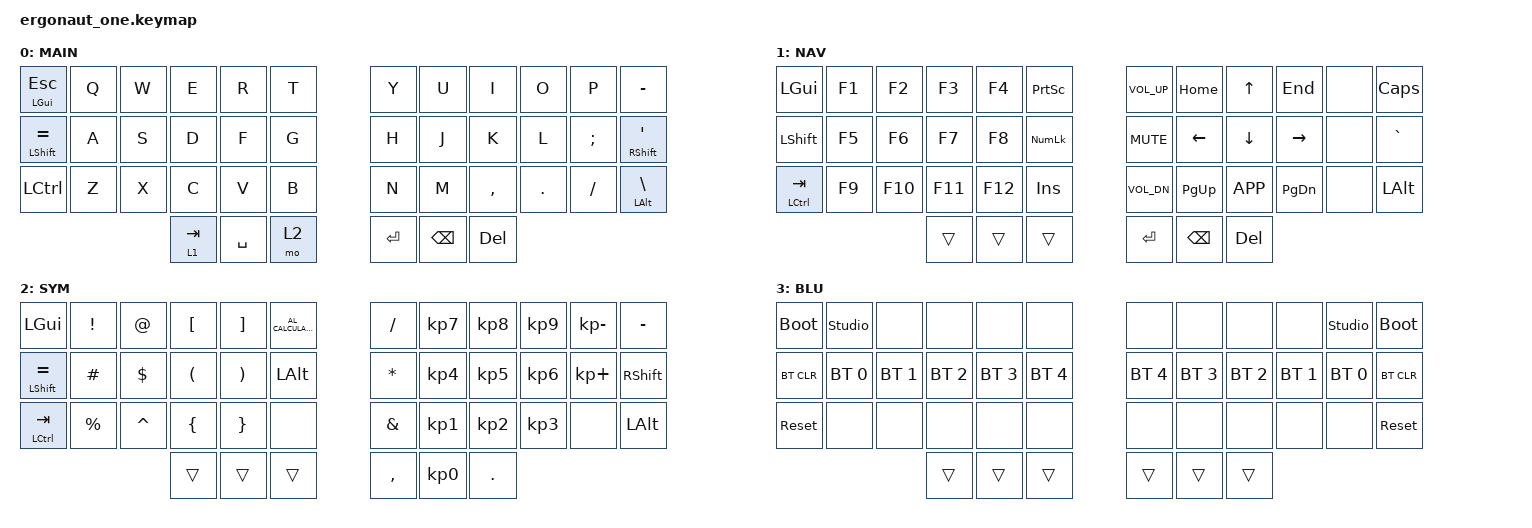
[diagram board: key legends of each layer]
#include <behaviors.dtsi>
#include <dt-bindings/zmk/bt.h>
#include <dt-bindings/zmk/keys.h>

&lt {
    quick-tap-ms = <200>;
    flavor = "hold-preferred";
};

&mt { quick-tap-ms = <200>; };

&sl { release-after-ms = <2000>; };

/ {
    combos {
        compatible = "zmk,combos";

        rightblu {
            bindings = <&sl 3>;
            key-positions = <41 40 39>;
        };

        leftblu {
            bindings = <&sl 3>;
            key-positions = <38 37 36>;
        };
    };

    keymap {
        compatible = "zmk,keymap";

        main {
            display-name = "MAIN";
            bindings = <
&mt LGUI ESC      &kp Q  &kp W  &kp E      &kp R      &kp T  &kp Y      &kp U          &kp I      &kp O    &kp P     &kp MINUS
&mt LSHIFT EQUAL  &kp A  &kp S  &kp D      &kp F      &kp G  &kp H      &kp J          &kp K      &kp L    &kp SEMI  &mt RSHIFT SQT
&kp LCTRL         &kp Z  &kp X  &kp C      &kp V      &kp B  &kp N      &kp M          &kp COMMA  &kp DOT  &kp FSLH  &mt LEFT_ALT BSLH
                                &lt 1 TAB  &kp SPACE  &mo 2  &kp ENTER  &kp BACKSPACE  &kp DEL
            >;
        };

        navigation {
            display-name = "NAV";
            bindings = <
&kp LEFT_GUI   &kp F1  &kp F2   &kp F3   &kp F4   &kp PSCRN       &kp C_VOL_UP  &kp HOME       &kp UP      &kp END    &none  &kp CAPS
&kp LSHIFT     &kp F5  &kp F6   &kp F7   &kp F8   &kp KP_NUMLOCK  &kp K_MUTE    &kp LEFT       &kp DOWN    &kp RIGHT  &none  &kp GRAVE
&mt LCTRL TAB  &kp F9  &kp F10  &kp F11  &kp F12  &kp INS         &kp C_VOL_DN  &kp PG_UP      &kp K_APP   &kp PG_DN  &none  &kp LALT
                                &trans   &trans   &trans          &kp ENTER     &kp BACKSPACE  &kp DELETE
            >;
        };

        symbols {
            display-name = "SYM";
            bindings = <
&kp LEFT_GUI      &kp EXCLAMATION  &kp AT_SIGN  &kp LBKT        &kp RBKT         &kp C_AL_CALCULATOR  &kp SLASH      &kp KP_NUMBER_7  &kp KP_NUMBER_8  &kp KP_NUMBER_9  &kp KP_MINUS  &kp MINUS
&mt LSHIFT EQUAL  &kp HASH         &kp DOLLAR   &kp LPAR        &kp RPAR         &kp LALT             &kp STAR       &kp KP_NUMBER_4  &kp KP_NUMBER_5  &kp KP_NUMBER_6  &kp KP_PLUS   &kp RSHIFT
&mt LCTRL TAB     &kp PERCENT      &kp CARET    &kp LEFT_BRACE  &kp RIGHT_BRACE  &none                &kp AMPERSAND  &kp KP_NUMBER_1  &kp KP_NUMBER_2  &kp KP_NUMBER_3  &none         &kp LALT
                                                &trans          &trans           &trans               &kp COMMA      &kp KP_NUMBER_0  &kp DOT
            >;
        };

        bluetooth {
            display-name = "BLU";
            bindings = <
&bootloader  &studio_unlock  &none         &none         &none         &none         &none         &none         &none         &none         &studio_unlock  &bootloader
&bt BT_CLR   &bt BT_SEL 0    &bt BT_SEL 1  &bt BT_SEL 2  &bt BT_SEL 3  &bt BT_SEL 4  &bt BT_SEL 4  &bt BT_SEL 3  &bt BT_SEL 2  &bt BT_SEL 1  &bt BT_SEL 0    &bt BT_CLR
&sys_reset   &none           &none         &none         &none         &none         &none         &none         &none         &none         &none           &sys_reset
                                           &trans        &trans        &trans        &trans        &trans        &trans
            >;
        };
    };
};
